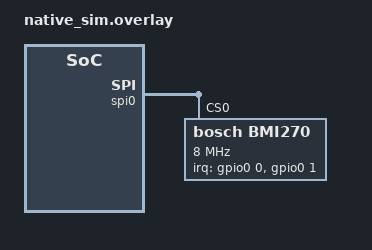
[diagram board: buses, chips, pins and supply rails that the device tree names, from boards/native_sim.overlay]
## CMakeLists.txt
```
# SPDX-License-Identifier: Apache-2.0

cmake_minimum_required(VERSION 3.20.0)
find_package(Zephyr REQUIRED HINTS $ENV{ZEPHYR_BASE})
project(emul_bmi270_test)

# Need the out-of-tree BMI270 emulator (fw/drivers/emul_bmi270)
add_subdirectory(
	${CMAKE_CURRENT_LIST_DIR}/../../../drivers
	${CMAKE_CURRENT_BINARY_DIR}/app_drivers
)

target_sources(app PRIVATE src/main.c)
```

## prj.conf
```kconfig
CONFIG_ZTEST=y

CONFIG_SENSOR=y
CONFIG_SPI=y
CONFIG_GPIO=y

# The emulated bus/device layer (SPI_EMUL and GPIO_EMUL default to y on
# native_sim once their devicetree nodes exist; CONFIG_BMI270 defaults to y
# on the overlay's bosch,bmi270 node)
CONFIG_EMUL=y
CONFIG_EMUL_BMI270=y

# The bmi270 driver and the emulator both use CONFIG_SENSOR_LOG_LEVEL, which
# only exists when LOG is enabled
CONFIG_LOG=y
```

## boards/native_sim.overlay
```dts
/*
 * Instantiate a BMI270 on native_sim's emulated SPI controller so the real
 * upstream driver initializes against the out-of-tree emulator
 * (fw/drivers/emul_bmi270).
 *
 * irq-gpios mirrors the proto0 node's INT1/INT2 pair, pointed at native_sim's
 * gpio_emul controller. The driver maps data-ready to INT2 (irq-gpios index
 * 1, here gpio0 pin 1) — the trigger test fires that pin via
 * gpio_emul_input_set().
 */

&spi0 {
	bmi270: bmi270@0 {
		compatible = "bosch,bmi270";
		reg = <0>;
		spi-max-frequency = <8000000>;
		irq-gpios = <&gpio0 0 GPIO_ACTIVE_HIGH>,
			    <&gpio0 1 GPIO_ACTIVE_HIGH>;
	};
};
```

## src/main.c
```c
/*
 * Tests for the out-of-tree BMI270 emulator (fw/drivers/emul_bmi270).
 *
 * These exercise the REAL upstream bmi270 driver end-to-end on native_sim:
 * driver init runs against the emulator at boot (chip id, soft reset,
 * config-file upload, INTERNAL_STATUS poll), and the tests then drive the
 * public sensor API while injecting samples through the sensor emulator
 * backend (emul_sensor_backend_set_channel).
 *
 * Two Twister scenarios share this file (see testcase.yaml):
 *  - drivers.emul_bmi270:         poll mode (CONFIG_BMI270_TRIGGER_NONE)
 *  - drivers.emul_bmi270.trigger: CONFIG_BMI270_TRIGGER_OWN_THREAD; the
 *    data-ready test fires INT2 via native_sim's gpio_emul. Tests that
 *    don't apply to the current scenario skip themselves.
 */

#include <math.h>
#include <zephyr/device.h>
#include <zephyr/drivers/emul.h>
#include <zephyr/drivers/emul_sensor.h>
#include <zephyr/drivers/gpio/gpio_emul.h>
#include <zephyr/drivers/sensor.h>
#include <zephyr/kernel.h>
#include <zephyr/ztest.h>

#include "emul_bmi270.h"

/* Register addresses/values, mirroring the driver's private bmi270.h */
#define REG_ACC_CONF     0x40
#define REG_ACC_RANGE    0x41
#define REG_GYR_CONF     0x42
#define REG_GYR_RANGE    0x43
#define REG_INT_MAP_DATA 0x58
#define REG_PWR_CTRL     0x7D

#define ACC_ODR_25_HZ  0x06
#define GYR_ODR_25_HZ  0x06
#define ODR_MSK        0x0F
#define PWR_CTRL_GYR_EN 0x02
#define PWR_CTRL_ACC_EN 0x04
#define INT_MAP_DATA_DRDY_INT2 BIT(6)

static const struct device *const bmi_dev = DEVICE_DT_GET(DT_NODELABEL(bmi270));
static const struct emul *const bmi_emul = EMUL_DT_GET(DT_NODELABEL(bmi270));

/* Convert a q31 + shift fixed-point value (the backend API's format) to a
 * plain double for comparisons. Doubles are fine on native_sim.
 */
static double q31_to_double(q31_t value, int8_t shift)
{
	return ldexp((double)value, shift - 31);
}

ZTEST(emul_bmi270, test_device_ready)
{
	/* device_is_ready passing means bmi270_init() completed against the
	 * emulator: SPI-mode dummy read, chip id 0x24, soft reset, PWR_CONF
	 * read-modify-write, config-file upload handshake, and the
	 * INTERNAL_STATUS INIT_OK poll.
	 */
	zassert_true(device_is_ready(bmi_dev));
}

ZTEST(emul_bmi270, test_config_file_uploaded)
{
	/* Our devicetree compatible ("bosch,bmi270", not "bosch,bmi270-base")
	 * selects the driver's 328-byte max_fifo config file, uploaded in
	 * 256-byte bursts: ceil(328 / 256) * 256 = 512 bytes on the wire.
	 * Catches regressions in the emul's SPI burst-write framing.
	 */
	zassert_equal(emul_bmi270_cfg_bytes_written(bmi_emul), 512);
}

ZTEST(emul_bmi270, test_odr_attr)
{
	/* The exact configuration imu_thread applies: 25 Hz, val2 zeroed
	 * (an uninitialized val2 once powered the sensor off — see the
	 * comment in fw/src/imu/imu.cpp).
	 */
	struct sensor_value odr = {.val1 = 25, .val2 = 0};
	uint8_t reg;

	zassert_ok(sensor_attr_set(bmi_dev, SENSOR_CHAN_ACCEL_XYZ,
				   SENSOR_ATTR_SAMPLING_FREQUENCY, &odr));
	zassert_ok(sensor_attr_set(bmi_dev, SENSOR_CHAN_GYRO_XYZ,
				   SENSOR_ATTR_SAMPLING_FREQUENCY, &odr));

	zassert_ok(emul_bmi270_get_reg(bmi_emul, REG_ACC_CONF, &reg, 1));
	zassert_equal(reg & ODR_MSK, ACC_ODR_25_HZ, "ACC_CONF ODR bits: 0x%02x", reg);

	zassert_ok(emul_bmi270_get_reg(bmi_emul, REG_GYR_CONF, &reg, 1));
	zassert_equal(reg & ODR_MSK, GYR_ODR_25_HZ, "GYR_CONF ODR bits: 0x%02x", reg);

	zassert_ok(emul_bmi270_get_reg(bmi_emul, REG_PWR_CTRL, &reg, 1));
	zassert_equal(reg & (PWR_CTRL_ACC_EN | PWR_CTRL_GYR_EN),
		      PWR_CTRL_ACC_EN | PWR_CTRL_GYR_EN,
		      "PWR_CTRL should enable accel+gyro: 0x%02x", reg);
}

/* Inject a value on each axis of a channel triple, fetch through the driver,
 * and check the round-tripped SI values match within the backend's epsilon.
 */
static void inject_and_check(enum sensor_channel chan_base, enum sensor_channel chan_xyz)
{
	q31_t lower, upper, epsilon;
	int8_t shift;
	struct sensor_chan_spec spec = {.chan_type = chan_base, .chan_idx = 0};

	zassert_ok(emul_sensor_backend_get_sample_range(bmi_emul, spec, &lower,
							&upper, &epsilon, &shift));

	/* Per-axis test values: 0 on X, half scale on Y, near negative full
	 * scale on Z — distinct values also prove axis ordering in the
	 * 12-byte burst read.
	 */
	q31_t values[3] = {0, upper / 2, (q31_t)(-((int64_t)upper * 9 / 10))};

	for (int axis = 0; axis < 3; axis++) {
		spec.chan_type = chan_base + axis;
		zassert_ok(emul_sensor_backend_set_channel(bmi_emul, spec,
							   &values[axis], shift));
	}

	zassert_ok(sensor_sample_fetch(bmi_dev));

	struct sensor_value out[3];

	zassert_ok(sensor_channel_get(bmi_dev, chan_xyz, out));

	double eps = q31_to_double(epsilon, shift);

	for (int axis = 0; axis < 3; axis++) {
		double expected = q31_to_double(values[axis], shift);
		double actual = sensor_value_to_double(&out[axis]);

		zassert_within(actual, expected, eps,
			       "chan %d axis %d: expected %f, got %f (eps %f)",
			       chan_base, axis, expected, actual, eps);
	}
}

ZTEST(emul_bmi270, test_accel_inject_and_scale)
{
	static const int ranges_g[] = {2, 4, 8, 16};

	for (size_t i = 0; i < ARRAY_SIZE(ranges_g); i++) {
		struct sensor_value fs = {.val1 = ranges_g[i], .val2 = 0};

		zassert_ok(sensor_attr_set(bmi_dev, SENSOR_CHAN_ACCEL_XYZ,
					   SENSOR_ATTR_FULL_SCALE, &fs),
			   "setting accel range %d g", ranges_g[i]);
		inject_and_check(SENSOR_CHAN_ACCEL_X, SENSOR_CHAN_ACCEL_XYZ);
	}
}

ZTEST(emul_bmi270, test_gyro_inject_and_scale)
{
	static const int ranges_dps[] = {125, 250, 500, 1000, 2000};

	for (size_t i = 0; i < ARRAY_SIZE(ranges_dps); i++) {
		struct sensor_value fs = {.val1 = ranges_dps[i], .val2 = 0};

		zassert_ok(sensor_attr_set(bmi_dev, SENSOR_CHAN_GYRO_XYZ,
					   SENSOR_ATTR_FULL_SCALE, &fs),
			   "setting gyro range %d dps", ranges_dps[i]);
		inject_and_check(SENSOR_CHAN_GYRO_X, SENSOR_CHAN_GYRO_XYZ);
	}
}

#if defined(CONFIG_BMI270_TRIGGER)

static K_SEM_DEFINE(drdy_sem, 0, 1);

static void drdy_handler(const struct device *dev, const struct sensor_trigger *trig)
{
	ARG_UNUSED(dev);
	ARG_UNUSED(trig);
	k_sem_give(&drdy_sem);
}

#endif /* CONFIG_BMI270_TRIGGER */

ZTEST(emul_bmi270, test_drdy_trigger)
{
#if defined(CONFIG_BMI270_TRIGGER)
	/* The driver maps SENSOR_TRIG_DATA_READY to INT2 = irq-gpios index 1
	 * = gpio0 pin 1 in our overlay (INT1/index 0 is feature interrupts).
	 */
	const struct device *const gpio_dev = DEVICE_DT_GET(DT_NODELABEL(gpio0));
	static const struct sensor_trigger trig = {
		.type = SENSOR_TRIG_DATA_READY,
		.chan = SENSOR_CHAN_ALL,
	};
	uint8_t reg;

	zassert_true(device_is_ready(gpio_dev));
	k_sem_reset(&drdy_sem);

	zassert_ok(sensor_trigger_set(bmi_dev, &trig, drdy_handler));

	/* The real bmi270_trigger.c path ran: it routed data-ready to INT2 */
	zassert_ok(emul_bmi270_get_reg(bmi_emul, REG_INT_MAP_DATA, &reg, 1));
	zassert_equal(reg & INT_MAP_DATA_DRDY_INT2, INT_MAP_DATA_DRDY_INT2,
		      "INT_MAP_DATA: 0x%02x", reg);

	/* Fire INT2 (edge to active) and expect the handler on the driver's
	 * own trigger thread; repeat to prove it re-arms.
	 */
	for (int i = 0; i < 2; i++) {
		zassert_ok(gpio_emul_input_set(gpio_dev, 1, 1));
		zassert_ok(k_sem_take(&drdy_sem, K_MSEC(100)),
			   "data-ready trigger %d did not fire", i);
		zassert_ok(gpio_emul_input_set(gpio_dev, 1, 0));
	}

	/* Handler removal must also succeed (imu_thread never does this, but
	 * it completes the trigger_set contract).
	 */
	zassert_ok(sensor_trigger_set(bmi_dev, &trig, NULL));
#else
	ztest_test_skip();
#endif /* CONFIG_BMI270_TRIGGER */
}

ZTEST_SUITE(emul_bmi270, NULL, NULL, NULL, NULL, NULL);
```
